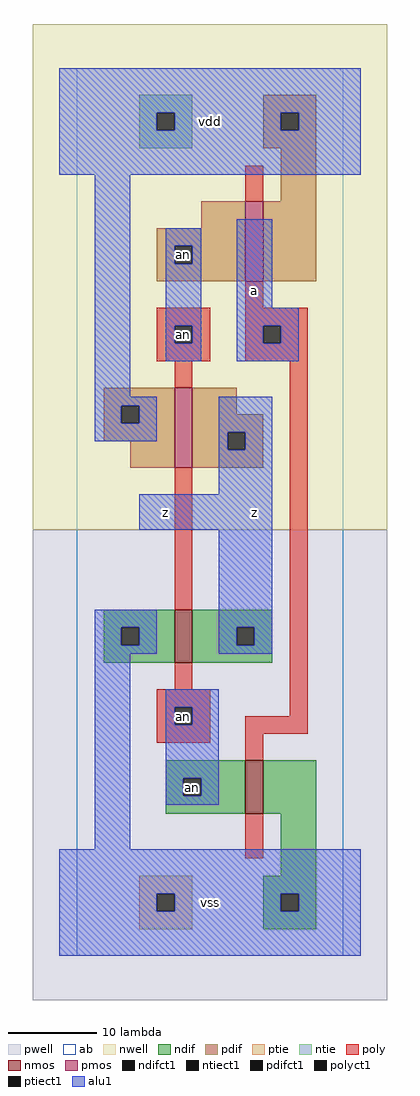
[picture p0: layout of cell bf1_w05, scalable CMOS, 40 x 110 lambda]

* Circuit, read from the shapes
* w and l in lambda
.subckt bf1_w05 a an vdd vss z
M1 z an vss vss nfet w=6 l=2
M2 vss a an vss nfet w=6 l=2
M3 z an vdd vdd pfet w=9 l=2
M4 vdd a an vdd pfet w=9 l=2
.ends

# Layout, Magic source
magic
tech scmos
<< ab >>
rect 0 0 30 100
<< nwell >>
rect -5 48 35 105
<< pwell >>
rect -5 -5 35 48
<< poly >>
rect 19 85 21 89
rect 19 73 21 76
rect 9 71 15 73
rect 9 69 11 71
rect 13 69 15 71
rect 9 67 15 69
rect 19 71 26 73
rect 19 69 21 71
rect 23 69 26 71
rect 19 67 26 69
rect 11 64 13 67
rect 11 39 13 55
rect 11 30 13 33
rect 9 28 15 30
rect 9 26 11 28
rect 13 26 15 28
rect 24 27 26 67
rect 9 24 15 26
rect 19 25 26 27
rect 19 22 21 25
rect 19 11 21 16
<< ndif >>
rect 3 37 11 39
rect 3 35 5 37
rect 7 35 11 37
rect 3 33 11 35
rect 13 37 22 39
rect 13 35 18 37
rect 20 35 22 37
rect 13 33 22 35
rect 10 20 19 22
rect 10 18 12 20
rect 14 18 19 20
rect 10 16 19 18
rect 21 16 27 22
rect 23 9 27 16
rect 21 7 27 9
rect 21 5 23 7
rect 25 5 27 7
rect 21 3 27 5
<< pdif >>
rect 21 95 27 97
rect 21 93 23 95
rect 25 93 27 95
rect 21 91 27 93
rect 23 85 27 91
rect 14 82 19 85
rect 9 80 19 82
rect 9 78 11 80
rect 13 78 19 80
rect 9 76 19 78
rect 21 76 27 85
rect 3 62 11 64
rect 3 60 5 62
rect 7 60 11 62
rect 3 58 11 60
rect 6 55 11 58
rect 13 61 18 64
rect 13 59 21 61
rect 13 57 17 59
rect 19 57 21 59
rect 13 55 21 57
<< alu1 >>
rect -2 95 32 100
rect -2 93 9 95
rect 11 93 23 95
rect 25 93 32 95
rect -2 88 32 93
rect 2 63 6 88
rect 10 80 14 82
rect 10 78 11 80
rect 13 78 14 80
rect 10 71 14 78
rect 10 69 11 71
rect 13 69 14 71
rect 10 67 14 69
rect 18 73 22 83
rect 18 71 25 73
rect 18 69 21 71
rect 23 69 25 71
rect 18 67 25 69
rect 2 62 9 63
rect 2 60 5 62
rect 7 60 9 62
rect 2 58 9 60
rect 16 59 22 63
rect 16 57 17 59
rect 19 57 22 59
rect 16 52 22 57
rect 7 48 22 52
rect 2 37 9 39
rect 2 35 5 37
rect 7 35 9 37
rect 2 34 9 35
rect 16 37 22 48
rect 16 35 18 37
rect 20 35 22 37
rect 16 34 22 35
rect 2 12 6 34
rect 10 28 16 30
rect 10 26 11 28
rect 13 26 16 28
rect 10 20 16 26
rect 10 18 12 20
rect 14 18 16 20
rect 10 17 16 18
rect -2 7 32 12
rect -2 5 9 7
rect 11 5 23 7
rect 25 5 32 7
rect -2 0 32 5
<< ptie >>
rect 7 7 13 9
rect 7 5 9 7
rect 11 5 13 7
rect 7 3 13 5
<< ntie >>
rect 7 95 13 97
rect 7 93 9 95
rect 11 93 13 95
rect 7 91 13 93
<< nmos >>
rect 11 33 13 39
rect 19 16 21 22
<< pmos >>
rect 19 76 21 85
rect 11 55 13 64
<< polyct1 >>
rect 11 69 13 71
rect 21 69 23 71
rect 11 26 13 28
<< ndifct1 >>
rect 5 35 7 37
rect 18 35 20 37
rect 12 18 14 20
rect 23 5 25 7
<< ntiect1 >>
rect 9 93 11 95
<< ptiect1 >>
rect 9 5 11 7
<< pdifct1 >>
rect 23 93 25 95
rect 11 78 13 80
rect 5 60 7 62
rect 17 57 19 59
<< labels >>
rlabel polyct1 12 27 12 27 6 an
rlabel ndifct1 13 19 13 19 6 an
rlabel pdifct1 12 79 12 79 6 an
rlabel polyct1 12 70 12 70 6 an
rlabel alu1 10 50 10 50 6 z
rlabel alu1 15 6 15 6 6 vss
rlabel alu1 20 50 20 50 6 z
rlabel alu1 20 75 20 75 6 a
rlabel alu1 15 94 15 94 6 vdd
<< end >>
